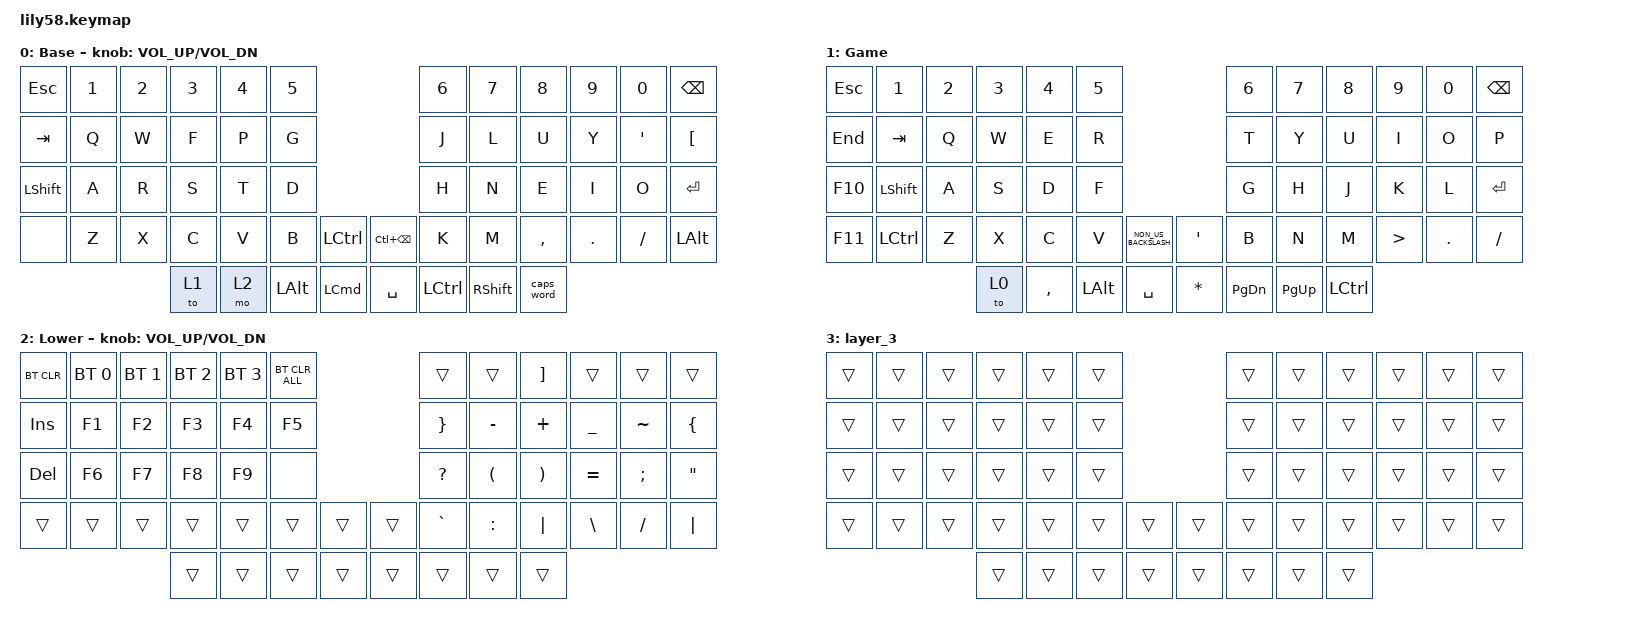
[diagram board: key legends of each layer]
/*
 * Copyright (c) 2020 The ZMK Contributors
 *
 * SPDX-License-Identifier: MIT
 */

#include <behaviors.dtsi>
#include <dt-bindings/zmk/bt.h>
#include <dt-bindings/zmk/keys.h>

/ {
    behaviors {
        gaming: gaming {
            compatible = "zmk,behavior-tap-dance";
            label = "GAMING";
            #binding-cells = <0>;
            bindings = <&kp N5>, <&to 1>;
        };
    };

    keymap {
        compatible = "zmk,keymap";

        default_layer {
            // ------------------------------------------------------------------------------------------------------------
            // |  ESC  |  1  |  2  |  3   |  4   |  5   |                   |  6   |  7    |  8    |  9   |   0   |   `   |
            // |  TAB  |  Q  |  W  |  E   |  R   |  T   |                   |  Y   |  U    |  I    |  O   |   P   |   -   |
            // |  CTRL |  A  |  S  |  D   |  F   |  G   |                   |  H   |  J    |  K    |  L   |   ;   |   '   |
            // | SHIFT |  Z  |  X  |  C   |  V   |  B   |   "["  |  |  "]"  |  N   |  M    |  ,    |  .   |   /   | SHIFT |
            //                     | ALT  | GUI  | LOWER|  SPACE |  | ENTER | RAISE| BSPC  | GUI   |

            display-name = "Base";
            bindings = <
&kp ESC         &kp N1  &kp N2  &kp N3  &kp N4  &kp NUMBER_5                                         &kp N6     &kp N7           &kp N8      &kp N9   &kp N0            &kp BACKSPACE
&kp TAB         &kp Q   &kp W   &kp F   &kp P   &kp G                                                &kp J      &kp L            &kp U       &kp Y    &kp SINGLE_QUOTE  &kp LEFT_BRACKET
&kp LEFT_SHIFT  &kp A   &kp R   &kp S   &kp T   &kp D                                                &kp H      &kp N            &kp E       &kp I    &kp O             &kp ENTER
&none           &kp Z   &kp X   &kp C   &kp V   &kp B         &kp LEFT_CONTROL    &kp LC(BACKSPACE)  &kp K      &kp M            &kp COMMA   &kp DOT  &kp FSLH          &kp LEFT_ALT
                                &to 1   &mo 2   &kp LEFT_ALT  &kp LEFT_COMMAND    &kp SPACE          &kp LCTRL  &kp RIGHT_SHIFT  &caps_word
            >;

            sensor-bindings = <&inc_dec_kp C_VOL_UP C_VOL_DN>;
        };

        gaming {
            bindings = <
&kp ESC  &kp N1            &kp N2  &kp N3  &kp N4     &kp N5                                          &kp N6         &kp N7       &kp N8            &kp N9            &kp N0      &kp BACKSPACE
&kp END  &kp TAB           &kp Q   &kp W   &kp E      &kp R                                           &kp T          &kp Y        &kp U             &kp I             &kp O       &kp P
&kp F10  &kp LEFT_SHIFT    &kp A   &kp S   &kp D      &kp F                                           &kp G          &kp H        &kp J             &kp K             &kp L       &kp ENTER
&kp F11  &kp LEFT_CONTROL  &kp Z   &kp X   &kp C      &kp V         &kp NON_US_BACKSLASH    &kp APOS  &kp B          &kp N        &kp M             &kp GREATER_THAN  &kp PERIOD  &kp SLASH
                                   &to 0   &kp COMMA  &kp LEFT_ALT  &kp SPACE               &kp STAR  &kp PAGE_DOWN  &kp PAGE_UP  &kp LEFT_CONTROL
            >;

            label = "Game";
        };

        symbols {
            // ------------------------------------------------------------------------------------------------------------
            // | BTCLR | BT1 | BT2 |  BT3 |  BT4 |  BT5 |                   |      |       |       |      |       |       |
            // |  F1   |  F2 |  F3 |  F4  |  F5  |  F6  |                   |  F7  |  F8   |  F9   |  F10 |  F11  |  F12  |
            // |   `   |  !  |  @  |  #   |  $   |  %   |                   |  ^   |  &    |  *    |  (   |   )   |   ~   |
            // |       |     |     |      |      |      |        |  |       |      |  _    |  +    |  {   |   }   |  "|"  |
            //                     |      |      |      |        |  |       |      |       |       |

            display-name = "Lower";
            bindings = <
&bt BT_CLR  &bt BT_SEL 0  &bt BT_SEL 1  &bt BT_SEL 2  &bt BT_SEL 3  &bt BT_CLR_ALL                    &trans        &trans                &kp RIGHT_BRACKET      &trans         &trans     &trans
&kp INSERT  &kp F1        &kp F2        &kp F3        &kp F4        &kp F5                            &kp RBRC      &kp MINUS             &kp PLUS               &kp UNDER      &kp TILDE  &kp LEFT_BRACE
&kp DELETE  &kp F6        &kp F7        &kp F8        &kp F9        &none                             &kp QUESTION  &kp LEFT_PARENTHESIS  &kp RIGHT_PARENTHESIS  &kp EQUAL      &kp SEMI   &kp DOUBLE_QUOTES
&trans      &trans        &trans        &trans        &trans        &trans          &trans    &trans  &kp GRAVE     &kp COLON             &kp PIPE               &kp BACKSLASH  &kp SLASH  &kp PIPE
                                        &trans        &trans        &trans          &trans    &trans  &trans        &trans                &trans
            >;

            sensor-bindings = <&inc_dec_kp C_VOL_UP C_VOL_DN>;
        };

        layer_3 {
            bindings = <
&trans  &trans  &trans  &trans  &trans  &trans                    &trans  &trans  &trans  &trans  &trans  &trans
&trans  &trans  &trans  &trans  &trans  &trans                    &trans  &trans  &trans  &trans  &trans  &trans
&trans  &trans  &trans  &trans  &trans  &trans                    &trans  &trans  &trans  &trans  &trans  &trans
&trans  &trans  &trans  &trans  &trans  &trans  &trans    &trans  &trans  &trans  &trans  &trans  &trans  &trans
                        &trans  &trans  &trans  &trans    &trans  &trans  &trans  &trans
            >;
        };
    };
};
